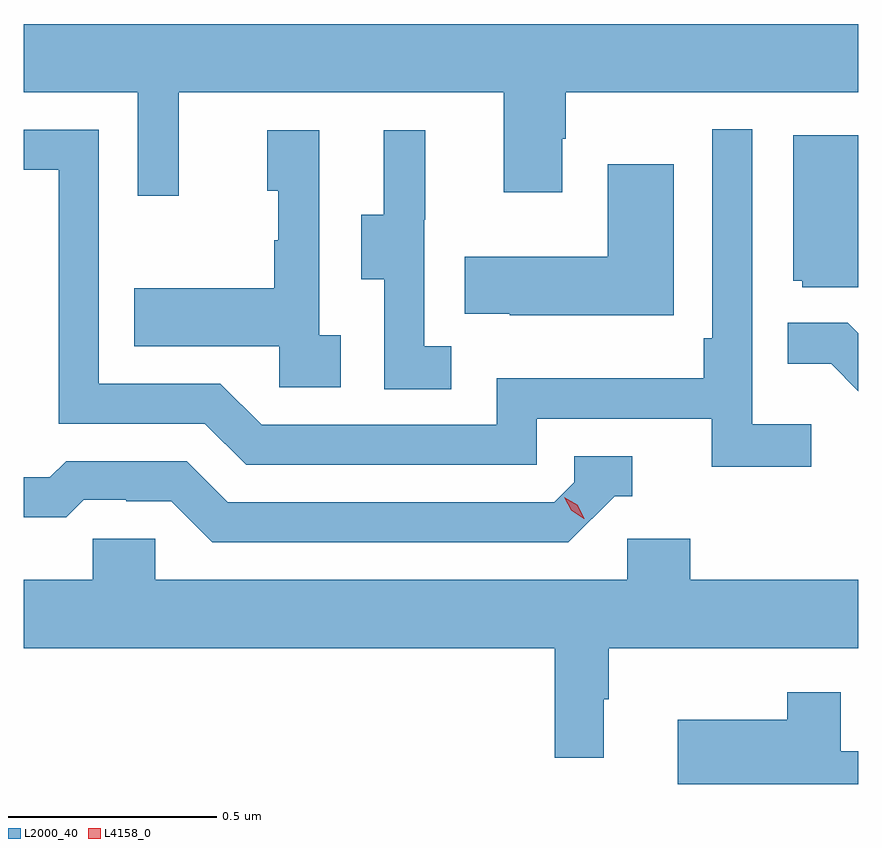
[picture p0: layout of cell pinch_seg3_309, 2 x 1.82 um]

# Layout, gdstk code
import gdstk
lib = gdstk.Library(unit=1e-6, precision=1e-09)
def P(c, l, *ps):  # polygons
    for p in ps: c.add(gdstk.Polygon(p, *l))
L2000_40 = (2000, 40)
L4158_0 = (4158, 0)

pinch_seg3_309 = lib.new_cell('pinch_seg3_309')
P(pinch_seg3_309, L2000_40, [(960.629,712.904),(961.409,712.904),(961.409,712.665),(961.549,712.665),(961.549,712.793),(961.557,712.793),(961.557,712.904),(962.258,712.904),(962.258,713.068),(960.258,713.068),(960.258,712.904),(960.531,712.904),(960.531,712.656),(960.629,712.656)],
  [(962.146,712.108),(962.004,712.108),(962.004,712.816),(961.908,712.816),(961.908,712.315),(961.888,712.315),(961.888,712.219),(961.392,712.219),(961.392,712.107),(960.828,712.107),(960.729,712.206),(960.438,712.206),(960.438,712.815),(960.258,712.815),(960.258,712.719),(960.342,712.719),(960.342,712.11),(960.692,712.11),(960.791,712.011),(961.488,712.011),(961.488,712.122),(961.907,712.122),(961.907,712.006),(962.146,712.006)],
  [(961.282,712.295),(961.218,712.295),(961.218,712.599),(961.22,712.599),(961.22,712.813),(961.121,712.813),(961.121,712.611),(961.067,712.611),(961.067,712.456),(961.122,712.456),(961.122,712.192),(961.282,712.192)],
  [(961.018,712.322),(960.966,712.322),(960.966,712.813),(960.842,712.813),(960.842,712.668),(960.868,712.668),(960.868,712.55),(960.858,712.55),(960.858,712.435),(960.523,712.435),(960.523,712.295),(960.87,712.295),(960.87,712.197),(961.018,712.197)],
  [(962.258,712.801),(962.102,712.801),(962.102,712.452),(962.124,712.452),(962.124,712.437),(962.258,712.437)],
  [(961.816,712.732),(961.658,712.732),(961.658,712.51),(961.315,712.51),(961.315,712.373),(961.423,712.373),(961.423,712.37),(961.816,712.37)],
  [(962.258,712.327),(962.233,712.352),(962.089,712.352),(962.089,712.253),(962.193,712.253),(962.258,712.188)],
  [(961.674,711.936),(961.717,711.936),(961.717,712.032),(961.578,712.032),(961.578,711.969),(961.53,711.921),(960.747,711.921),(960.648,712.02),(960.359,712.02),(960.32,711.981),(960.258,711.981),(960.258,711.885),(960.359,711.885),(960.401,711.927),(960.504,711.927),(960.504,711.924),(960.611,711.924),(960.71,711.825),(961.563,711.825)],
  [(960.573,711.834),(960.423,711.834),(960.423,711.736),(960.258,711.736),(960.258,711.572),(961.531,711.572),(961.531,711.309),(961.648,711.309),(961.648,711.449),(961.66,711.449),(961.66,711.572),(962.258,711.572),(962.258,711.736),(961.856,711.736),(961.856,711.834),(961.704,711.834),(961.704,711.736),(960.573,711.736)],
  [(962.258,711.325),(962.216,711.325),(962.216,711.466),(962.088,711.466),(962.088,711.4),(961.826,711.4),(961.826,711.246),(962.258,711.246)])
P(pinch_seg3_309, L4158_0, [(961.6,711.882),(961.57,711.902),(961.554,711.934),(961.554,711.934),(961.554,711.934),(961.585,711.915),(961.601,711.883),(961.601,711.882)])

lib.write_gds('pinch_seg3_309.gds')
